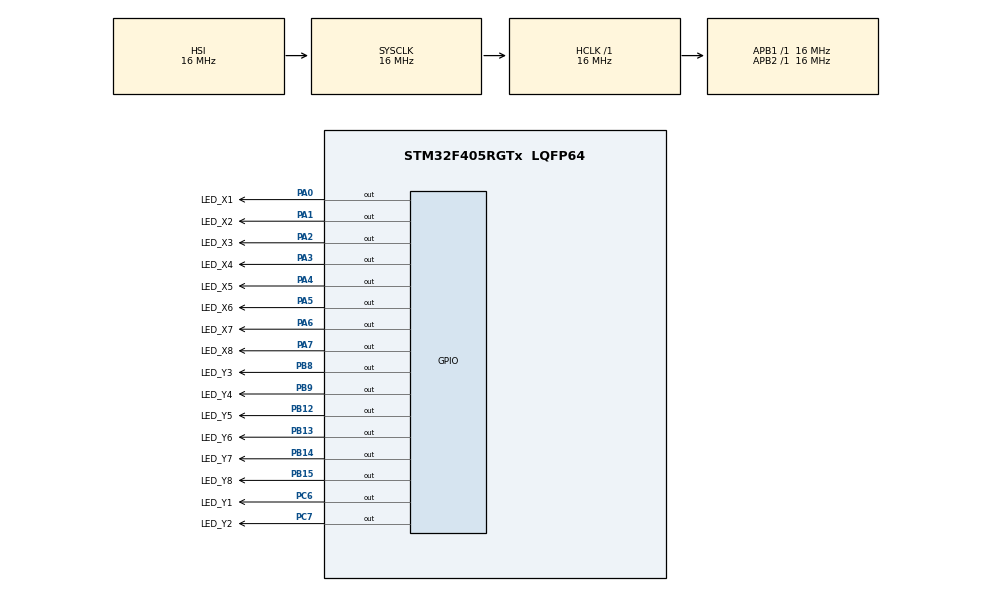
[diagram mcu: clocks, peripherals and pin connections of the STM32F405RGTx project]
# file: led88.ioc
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Mcu.Family=STM32F4
Mcu.Name=STM32F405RGTx
Mcu.Package=LQFP64
NVIC.PriorityGroup=NVIC_PRIORITYGROUP_4
PA0-WKUP.GPIO_Label=LED_X1
PA0-WKUP.Signal=GPIO_Output
PA0-WKUP.Stacked=true
PA1.GPIO_Label=LED_X2
PA1.Signal=GPIO_Output
PA13.Mode=Serial_Wire
PA13.Signal=SYS_JTMS-SWDIO
PA14.Mode=Serial_Wire
PA14.Signal=SYS_JTCK-SWCLK
PA2.GPIO_Label=LED_X3
PA2.Signal=GPIO_Output
PA3.GPIO_Label=LED_X4
PA3.Signal=GPIO_Output
PA4.GPIO_Label=LED_X5
PA4.Signal=GPIO_Output
PA5.GPIO_Label=LED_X6
PA5.Signal=GPIO_Output
PA6.GPIO_Label=LED_X7
PA6.Signal=GPIO_Output
PA7.GPIO_Label=LED_X8
PA7.Signal=GPIO_Output
PB12.GPIO_Label=LED_Y5
PB12.Signal=GPIO_Output
PB13.GPIO_Label=LED_Y6
PB13.Signal=GPIO_Output
PB14.GPIO_Label=LED_Y7
PB14.Signal=GPIO_Output
PB15.GPIO_Label=LED_Y8
PB15.Signal=GPIO_Output
PB8.GPIO_Label=LED_Y3
PB8.Signal=GPIO_Output
PB9.GPIO_Label=LED_Y4
PB9.Signal=GPIO_Output
PC6.GPIO_Label=LED_Y1
PC6.Signal=GPIO_Output
PC7.GPIO_Label=LED_Y2
PC7.Signal=GPIO_Output
ProjectManager.HeapSize=0x200
ProjectManager.StackSize=0x400
ProjectManager.TargetToolchain=MDK-ARM V5
RCC.AHBFreq_Value=16000000
RCC.APB1Freq_Value=16000000
RCC.APB2Freq_Value=16000000
RCC.CortexFreq_Value=16000000
RCC.HSE_VALUE=25000000
RCC.HSI_VALUE=16000000
RCC.LSE_VALUE=32768
RCC.SYSCLKFreq_VALUE=16000000
RCC.VCOOutputFreq_Value=192000000
board=custom

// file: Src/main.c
/* USER CODE BEGIN Header */
/**
  ******************************************************************************
  * @file           : main.c
  * @brief          : Main program body
  ******************************************************************************
  * @attention
  *
  * <h2><center>&copy; Copyright (c) 2019 STMicroelectronics.
  * All rights reserved.</center></h2>
  *
  * This software component is licensed by ST under BSD 3-Clause license,
  * the "License"; You may not use this file except in compliance with the
  * License. You may obtain a copy of the License at:
  *                        opensource.org/licenses/BSD-3-Clause
  *
  ******************************************************************************
  */
/* USER CODE END Header */

#include "main.h"

/* USER CODE BEGIN PV */

uint8_t TAB[8]={LED_X2_Pin,LED_X1_Pin,LED_X3_Pin,LED_X4_Pin,LED_X5_Pin,LED_X6_Pin,LED_X8_Pin,LED_X7_Pin};//?????????,???????
uint8_t CHARCODE[][8]={
//	{0x00,0x00,0x3,0x41,0x3e,0x00,0x00,0x00},  //0
//    {0x00,0x00,0x00,0x21,0x01,0x01,0x00,0x00},   //1
//	0x00,0x27,0x45,0x45,0x45,0x39,0x00,0x00,  //2
//	0x00,0x22,0x49,0x49,0x49,0x36,0x00,0x00,  //3
//	0x00,0x0c,0x14,0x24,0x7f,0x04,0x00,0x00,   //4
//	0x00,0x72,0x51,0x51,0x51,0x4e,0x00,0x00,   //5
//
//	0x00,0x3e,0x49,0x49,0x49,0x26,0x00,0x00,   //6
{0x00,0x40,0x40,0x40,0x4f,0x70,0x00,0x00},   //7
//	0x00,0x36,0x49,0x49,0x49,0x36,0x00,0x00,  //8
//0x00,0x32,0x49,0x49,0x49,0x3e,0x00,0x00   //9
//	0x00,0x08,0x10,0x30,0x50,0x30,0x10,0x08,//A
//	0x00,0x00,0x7E,0x52,0x52,0x7F,0x00,0x00,//B
//	0x00,0x00,0x7E,0x42,0x42,0x42,0x00,0x00,//C
//	0x00,0x00,0x7E,0x42,0x42,0x42,0x3C,0x00,//D

	{0x00,0x00,0x7E,0x52,0x52,0x52,0x51,0x00},//E
	{0x00,0x00,0x7E,0x50,0x50,0x50,0x50,0x00},//F
	};

/* USER CODE END PV */

void SystemClock_Config(void);
static void MX_GPIO_Init(void);

/* USER CODE BEGIN 0 */
void SetYOutPut(uint8_t set_value);

/* USER CODE END 0 */

int main(void)
{
  /* USER CODE BEGIN 1 */
	uint8_t i,j,l;
  /* USER CODE END 1 */

  /* MCU Configuration--------------------------------------------------------*/

  /* Reset of all peripherals, Initializes the Flash interface and the Systick. */

	HAL_Init();

  /* Configure the system clock */
  SystemClock_Config();

  /* Initialize all configured peripherals */
  MX_GPIO_Init();

  /* Infinite loop */
  /* USER CODE BEGIN WHILE */
  while (1)
  {
	  for(i=0;i<3;i++)
	  {
		 for (l=0;l<100;l++)
		for(j=0;j<8;j++)
		{
			HAL_GPIO_WritePin(GPIOA, LED_X1_Pin|LED_X2_Pin|LED_X3_Pin|LED_X4_Pin
                          |LED_X5_Pin|LED_X6_Pin|LED_X7_Pin|LED_X8_Pin, GPIO_PIN_SET);
			HAL_GPIO_WritePin(GPIOA, TAB[7-j], GPIO_PIN_RESET);
			SetYOutPut(~CHARCODE[i][j]);
			HAL_Delay(1);
		}

	  }
    /* USER CODE END WHILE */

  }
}

void SystemClock_Config(void)
{
  RCC_OscInitTypeDef RCC_OscInitStruct = {0};
  RCC_ClkInitTypeDef RCC_ClkInitStruct = {0};

  /** Configure the main internal regulator output voltage
  */
  __HAL_RCC_PWR_CLK_ENABLE();
  __HAL_PWR_VOLTAGESCALING_CONFIG(PWR_REGULATOR_VOLTAGE_SCALE1);
  /** Initializes the CPU, AHB and APB busses clocks
  */
  RCC_OscInitStruct.OscillatorType = RCC_OSCILLATORTYPE_HSI;
  RCC_OscInitStruct.HSIState = RCC_HSI_ON;
  RCC_OscInitStruct.HSICalibrationValue = RCC_HSICALIBRATION_DEFAULT;
  RCC_OscInitStruct.PLL.PLLState = RCC_PLL_NONE;
  if (HAL_RCC_OscConfig(&RCC_OscInitStruct) != HAL_OK)
  {
    Error_Handler();
  }
  /** Initializes the CPU, AHB and APB busses clocks
  */
  RCC_ClkInitStruct.ClockType = RCC_CLOCKTYPE_HCLK|RCC_CLOCKTYPE_SYSCLK
                              |RCC_CLOCKTYPE_PCLK1|RCC_CLOCKTYPE_PCLK2;
  RCC_ClkInitStruct.SYSCLKSource = RCC_SYSCLKSOURCE_HSI;
  RCC_ClkInitStruct.AHBCLKDivider = RCC_SYSCLK_DIV1;
  RCC_ClkInitStruct.APB1CLKDivider = RCC_HCLK_DIV1;
  RCC_ClkInitStruct.APB2CLKDivider = RCC_HCLK_DIV1;

  if (HAL_RCC_ClockConfig(&RCC_ClkInitStruct, FLASH_LATENCY_0) != HAL_OK)
  {
    Error_Handler();
  }
}

static void MX_GPIO_Init(void)
{
  GPIO_InitTypeDef GPIO_InitStruct = {0};

  /* GPIO Ports Clock Enable */
  __HAL_RCC_GPIOA_CLK_ENABLE();
  __HAL_RCC_GPIOB_CLK_ENABLE();
  __HAL_RCC_GPIOC_CLK_ENABLE();

  /*Configure GPIO pin Output Level */
  HAL_GPIO_WritePin(GPIOA, LED_X1_Pin|LED_X2_Pin|LED_X3_Pin|LED_X4_Pin
                          |LED_X5_Pin|LED_X6_Pin|LED_X7_Pin|LED_X8_Pin, GPIO_PIN_RESET);

  /*Configure GPIO pin Output Level */
  HAL_GPIO_WritePin(GPIOB, LED_Y5_Pin|LED_Y6_Pin|LED_Y7_Pin|LED_Y8_Pin
                          |LED_Y3_Pin|LED_Y4_Pin, GPIO_PIN_RESET);

  /*Configure GPIO pin Output Level */
  HAL_GPIO_WritePin(GPIOC, LED_Y1_Pin|LED_Y2_Pin, GPIO_PIN_RESET);

  /*Configure GPIO pins : LED_X1_Pin LED_X2_Pin LED_X3_Pin LED_X4_Pin
                           LED_X5_Pin LED_X6_Pin LED_X7_Pin LED_X8_Pin */
  GPIO_InitStruct.Pin = LED_X1_Pin|LED_X2_Pin|LED_X3_Pin|LED_X4_Pin
                          |LED_X5_Pin|LED_X6_Pin|LED_X7_Pin|LED_X8_Pin;
  GPIO_InitStruct.Mode = GPIO_MODE_OUTPUT_PP;
  GPIO_InitStruct.Pull = GPIO_NOPULL;
  GPIO_InitStruct.Speed = GPIO_SPEED_FREQ_LOW;
  HAL_GPIO_Init(GPIOA, &GPIO_InitStruct);

  /*Configure GPIO pins : LED_Y5_Pin LED_Y6_Pin LED_Y7_Pin LED_Y8_Pin
                           LED_Y3_Pin LED_Y4_Pin */
  GPIO_InitStruct.Pin = LED_Y5_Pin|LED_Y6_Pin|LED_Y7_Pin|LED_Y8_Pin
                          |LED_Y3_Pin|LED_Y4_Pin;
  GPIO_InitStruct.Mode = GPIO_MODE_OUTPUT_PP;
  GPIO_InitStruct.Pull = GPIO_NOPULL;
  GPIO_InitStruct.Speed = GPIO_SPEED_FREQ_LOW;
  HAL_GPIO_Init(GPIOB, &GPIO_InitStruct);

  /*Configure GPIO pins : LED_Y1_Pin LED_Y2_Pin */
  GPIO_InitStruct.Pin = LED_Y1_Pin|LED_Y2_Pin;
  GPIO_InitStruct.Mode = GPIO_MODE_OUTPUT_PP;
  GPIO_InitStruct.Pull = GPIO_NOPULL;
  GPIO_InitStruct.Speed = GPIO_SPEED_FREQ_LOW;
  HAL_GPIO_Init(GPIOC, &GPIO_InitStruct);

}

/* USER CODE BEGIN 4 */
void SetYOutPut(uint8_t set_value)
{

	if(0x40 == (set_value&0x40))
	{
	  HAL_GPIO_WritePin(GPIOB, LED_Y8_Pin , GPIO_PIN_SET);
	}
	else
	{
	  HAL_GPIO_WritePin(GPIOB, LED_Y8_Pin , GPIO_PIN_RESET);
	}

	if(0x80 == (set_value&0x80))
	{
	  HAL_GPIO_WritePin(GPIOB, LED_Y7_Pin , GPIO_PIN_SET);
	}
	else
	{
	  HAL_GPIO_WritePin(GPIOB, LED_Y7_Pin , GPIO_PIN_RESET);
	}

	if(0x20 == (set_value&0x20))
	{
	  HAL_GPIO_WritePin(GPIOB, LED_Y6_Pin , GPIO_PIN_SET);
	}
	else
	{
	  HAL_GPIO_WritePin(GPIOB, LED_Y6_Pin , GPIO_PIN_RESET);
	}

	if(0x10 == (set_value&0x10))
	{
	  HAL_GPIO_WritePin(GPIOB, LED_Y5_Pin , GPIO_PIN_SET);
	}
	else
	{
	  HAL_GPIO_WritePin(GPIOB, LED_Y5_Pin , GPIO_PIN_RESET);
	}

	if(0x8 == (set_value&0x8))
	{
	  HAL_GPIO_WritePin(GPIOB, LED_Y4_Pin , GPIO_PIN_SET);
	}
	else
	{
	  HAL_GPIO_WritePin(GPIOB, LED_Y4_Pin , GPIO_PIN_RESET);
	}

	if(0x4 == (set_value&0x4))
	{
	  HAL_GPIO_WritePin(GPIOB, LED_Y3_Pin , GPIO_PIN_SET);
	}
	else
	{
	  HAL_GPIO_WritePin(GPIOB, LED_Y3_Pin , GPIO_PIN_RESET);
	}

	if(0x1 == (set_value&0x01))
	{
	  HAL_GPIO_WritePin(GPIOC, LED_Y2_Pin , GPIO_PIN_SET);
	}
	else
	{
	  HAL_GPIO_WritePin(GPIOC, LED_Y2_Pin , GPIO_PIN_RESET);
	}

	if(0x2 == (set_value&0x2))
	{
	  HAL_GPIO_WritePin(GPIOC, LED_Y1_Pin , GPIO_PIN_SET);
	}
	else
	{
	  HAL_GPIO_WritePin(GPIOC, LED_Y1_Pin , GPIO_PIN_RESET);
	}

}

/* USER CODE END 4 */

void Error_Handler(void)
{
}

/************************ (C) COPYRIGHT STMicroelectronics *****END OF FILE****/
